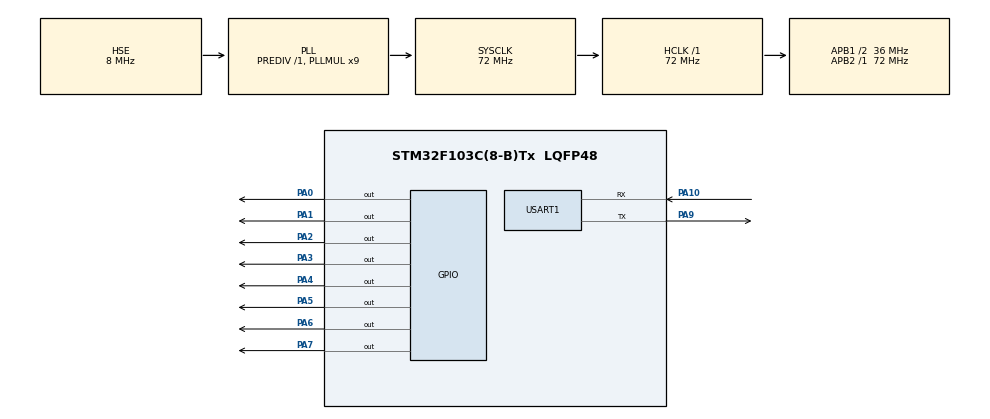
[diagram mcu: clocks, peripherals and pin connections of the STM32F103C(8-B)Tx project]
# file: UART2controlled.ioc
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Mcu.Family=STM32F1
Mcu.Name=STM32F103C(8-B)Tx
Mcu.Package=LQFP48
NVIC.PriorityGroup=NVIC_PRIORITYGROUP_4
NVIC.USART1_IRQn=true\:1\:0\:true\:false\:true\:true\:true\:true
PA0-WKUP.Signal=GPIO_Output
PA1.Signal=GPIO_Output
PA10.Mode=Asynchronous
PA10.Signal=USART1_RX
PA13.Mode=Serial_Wire
PA13.Signal=SYS_JTMS-SWDIO
PA14.Mode=Serial_Wire
PA14.Signal=SYS_JTCK-SWCLK
PA2.Signal=GPIO_Output
PA3.Signal=GPIO_Output
PA4.Signal=GPIO_Output
PA5.Signal=GPIO_Output
PA6.Signal=GPIO_Output
PA7.Signal=GPIO_Output
PA9.Mode=Asynchronous
PA9.Signal=USART1_TX
PD0-OSC_IN.Mode=HSE-External-Oscillator
PD0-OSC_IN.Signal=RCC_OSC_IN
PD1-OSC_OUT.Mode=HSE-External-Oscillator
PD1-OSC_OUT.Signal=RCC_OSC_OUT
ProjectManager.HeapSize=0x200
ProjectManager.StackSize=0x400
ProjectManager.TargetToolchain=MDK-ARM V5.32
RCC.AHBFreq_Value=72000000
RCC.APB1CLKDivider=RCC_HCLK_DIV2
RCC.APB1Freq_Value=36000000
RCC.APB1TimFreq_Value=72000000
RCC.APB2Freq_Value=72000000
RCC.APB2TimFreq_Value=72000000
RCC.HCLKFreq_Value=72000000
RCC.PLLMUL=RCC_PLL_MUL9
RCC.PLLSourceVirtual=RCC_PLLSOURCE_HSE
RCC.SYSCLKFreq_VALUE=72000000
RCC.SYSCLKSource=RCC_SYSCLKSOURCE_PLLCLK
RCC.USBFreq_Value=72000000
USART1.VirtualMode=VM_ASYNC
board=custom

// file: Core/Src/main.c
/* USER CODE BEGIN Header */
/**
  ******************************************************************************
  * @file           : main.c
  * @brief          : Main program body
  ******************************************************************************
  * @attention
  *
  * Copyright (c) 2023 STMicroelectronics.
  * All rights reserved.
  *
  * This software is licensed under terms that can be found in the LICENSE file
  * in the root directory of this software component.
  * If no LICENSE file comes with this software, it is provided AS-IS.
  *
  ******************************************************************************
  */
/* USER CODE END Header */
#include "main.h"

/* USER CODE BEGIN Includes */
#include "handle_cmd.h"
#include "led_control.h"
#include <string.h>
/* USER CODE END Includes */

UART_HandleTypeDef huart1;

void SystemClock_Config(void);
static void MX_GPIO_Init(void);
static void MX_USART1_UART_Init(void);

/* USER CODE BEGIN 0 */
#define CMD_ON "ledon"
#define CMD_OFF "ledoff"
char buff[50] = "ledon:1,2,3,4;ledoff:7,6;";
char uart_buff[50];
uint8_t uart_index = 0;
uint8_t uart_flag = 0;
char data_rx;
void HAL_UART_RxCpltCallback(UART_HandleTypeDef *huart)
{
	if(data_rx == '\n')
	{
		uart_buff[uart_index] = '\0';
		uart_flag = 1;
	}
	else
	{
		uart_buff[uart_index++] = data_rx;
	}
	HAL_UART_Receive_IT(&huart1,(uint8_t *)&data_rx,1);
}
/* USER CODE END 0 */

int main(void)
{

  /* MCU Configuration--------------------------------------------------------*/

  /* Reset of all peripherals, Initializes the Flash interface and the Systick. */
  HAL_Init();

  /* Configure the system clock */
  SystemClock_Config();

  /* Initialize all configured peripherals */
  MX_GPIO_Init();
  MX_USART1_UART_Init();
  /* USER CODE BEGIN 2 */
	HAL_UART_Receive_IT(&huart1,(uint8_t *)&data_rx,1);
  /* USER CODE END 2 */

  /* Infinite loop */
  while (1)
  {

    /* USER CODE BEGIN 3 */
		if(uart_flag == 1)
		{
			handle_cmd(uart_buff,CMD_ON,1);
			handle_cmd(uart_buff,CMD_OFF,0);
			memset(uart_buff,0,uart_index);
			uart_index = 0;
			uart_flag = 0;
		}
  }
  /* USER CODE END 3 */
}

void SystemClock_Config(void)
{
  RCC_OscInitTypeDef RCC_OscInitStruct = {0};
  RCC_ClkInitTypeDef RCC_ClkInitStruct = {0};

  /** Initializes the RCC Oscillators according to the specified parameters
  * in the RCC_OscInitTypeDef structure.
  */
  RCC_OscInitStruct.OscillatorType = RCC_OSCILLATORTYPE_HSE;
  RCC_OscInitStruct.HSEState = RCC_HSE_ON;
  RCC_OscInitStruct.HSEPredivValue = RCC_HSE_PREDIV_DIV1;
  RCC_OscInitStruct.HSIState = RCC_HSI_ON;
  RCC_OscInitStruct.PLL.PLLState = RCC_PLL_ON;
  RCC_OscInitStruct.PLL.PLLSource = RCC_PLLSOURCE_HSE;
  RCC_OscInitStruct.PLL.PLLMUL = RCC_PLL_MUL9;
  if (HAL_RCC_OscConfig(&RCC_OscInitStruct) != HAL_OK)
  {
    Error_Handler();
  }

  /** Initializes the CPU, AHB and APB buses clocks
  */
  RCC_ClkInitStruct.ClockType = RCC_CLOCKTYPE_HCLK|RCC_CLOCKTYPE_SYSCLK
                              |RCC_CLOCKTYPE_PCLK1|RCC_CLOCKTYPE_PCLK2;
  RCC_ClkInitStruct.SYSCLKSource = RCC_SYSCLKSOURCE_PLLCLK;
  RCC_ClkInitStruct.AHBCLKDivider = RCC_SYSCLK_DIV1;
  RCC_ClkInitStruct.APB1CLKDivider = RCC_HCLK_DIV2;
  RCC_ClkInitStruct.APB2CLKDivider = RCC_HCLK_DIV1;

  if (HAL_RCC_ClockConfig(&RCC_ClkInitStruct, FLASH_LATENCY_2) != HAL_OK)
  {
    Error_Handler();
  }
}

static void MX_USART1_UART_Init(void)
{

  huart1.Instance = USART1;
  huart1.Init.BaudRate = 115200;
  huart1.Init.WordLength = UART_WORDLENGTH_8B;
  huart1.Init.StopBits = UART_STOPBITS_1;
  huart1.Init.Parity = UART_PARITY_NONE;
  huart1.Init.Mode = UART_MODE_TX_RX;
  huart1.Init.HwFlowCtl = UART_HWCONTROL_NONE;
  huart1.Init.OverSampling = UART_OVERSAMPLING_16;
  if (HAL_UART_Init(&huart1) != HAL_OK)
  {
    Error_Handler();
  }

}

static void MX_GPIO_Init(void)
{
  GPIO_InitTypeDef GPIO_InitStruct = {0};

  /* GPIO Ports Clock Enable */
  __HAL_RCC_GPIOD_CLK_ENABLE();
  __HAL_RCC_GPIOA_CLK_ENABLE();

  /*Configure GPIO pin Output Level */
  HAL_GPIO_WritePin(GPIOA, GPIO_PIN_0|GPIO_PIN_1|GPIO_PIN_2|GPIO_PIN_3
                          |GPIO_PIN_4|GPIO_PIN_5|GPIO_PIN_6|GPIO_PIN_7, GPIO_PIN_RESET);

  /*Configure GPIO pins : PA0 PA1 PA2 PA3
                           PA4 PA5 PA6 PA7 */
  GPIO_InitStruct.Pin = GPIO_PIN_0|GPIO_PIN_1|GPIO_PIN_2|GPIO_PIN_3
                          |GPIO_PIN_4|GPIO_PIN_5|GPIO_PIN_6|GPIO_PIN_7;
  GPIO_InitStruct.Mode = GPIO_MODE_OUTPUT_PP;
  GPIO_InitStruct.Pull = GPIO_NOPULL;
  GPIO_InitStruct.Speed = GPIO_SPEED_FREQ_LOW;
  HAL_GPIO_Init(GPIOA, &GPIO_InitStruct);

}

void Error_Handler(void)
{
  __disable_irq();
  while (1)
  {
  }
}
